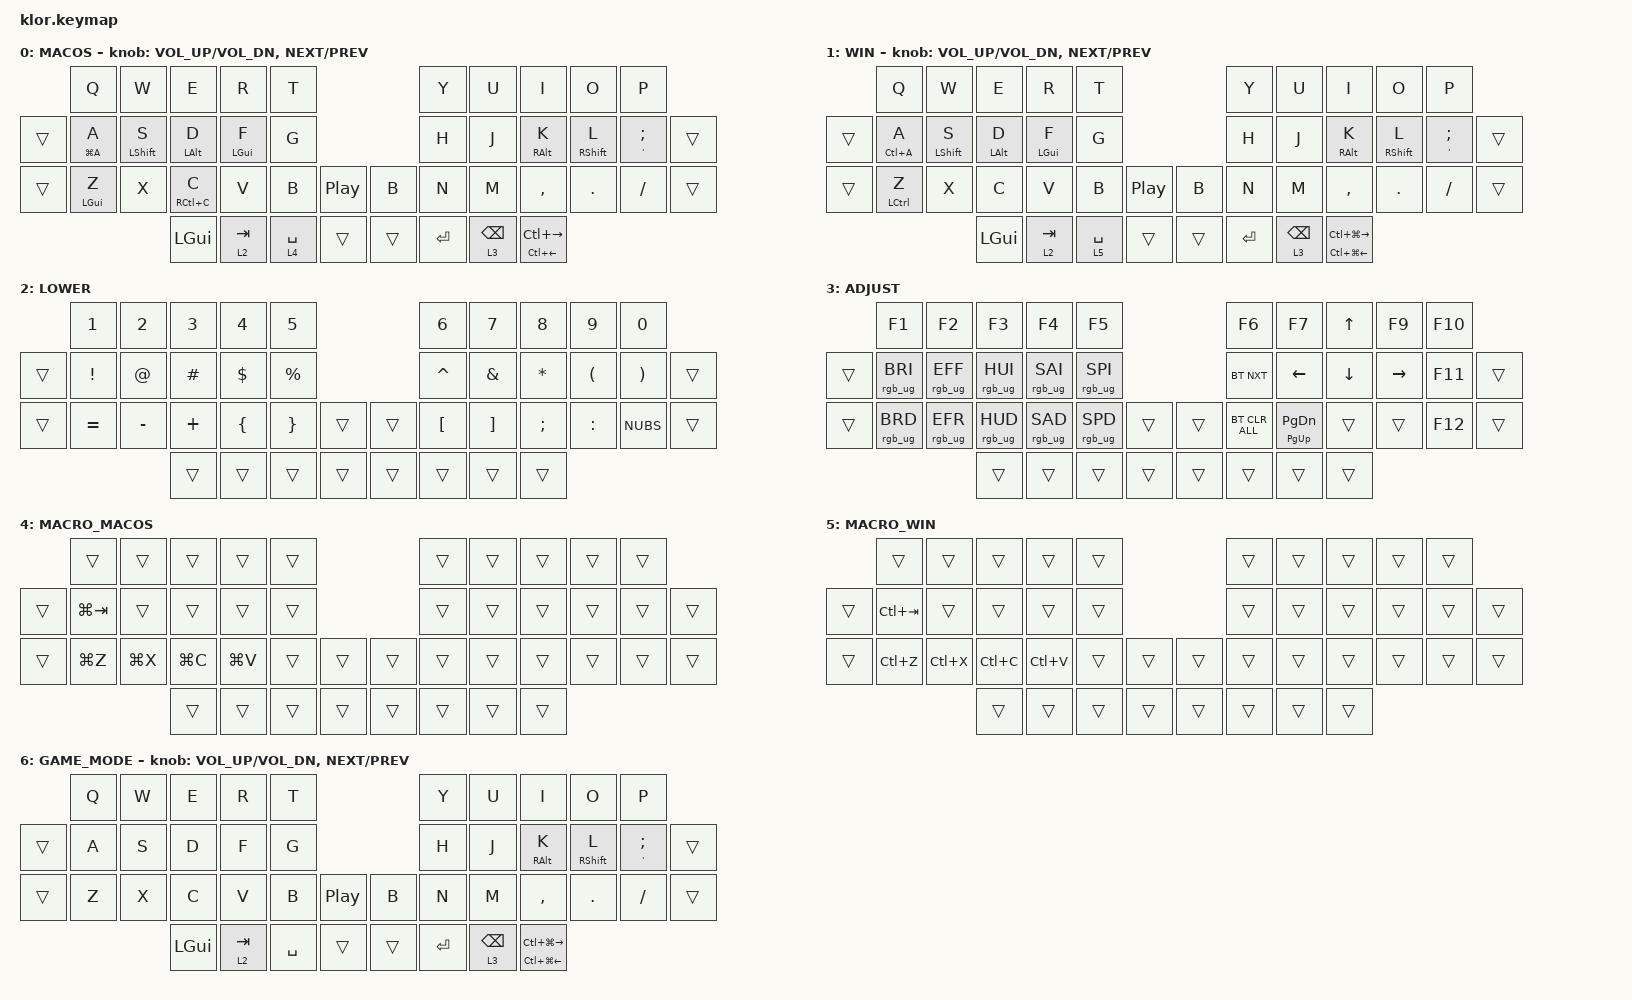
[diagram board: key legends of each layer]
//                               █         █    █            ▄▄▄▀▀▀▀▀▀▄▄▄        █▀▀▀▀▀▀▀▀▀▀█
//                               █        █     █          ▄▀            ▀▄      █          █
//                               █       █      █        ▄▀                ▀▄    █          █
//                               █      █       █        █                  █    █          █
//                               █     █        █       █                    █   █          █
//                               █    █         █       █                    █   █▄▄▄▄▄▄▄▄▄▄█
//                               █   █ █        █       █                    █   █      █
//                               █  █   █       █        █                  █    █       █
//                               █ █     █      █        ▀▄                ▄▀    █        █
//                               ██       █     █          ▀▄            ▄▀      █         █
//                               █         █    █▄▄▄▄▄▄▄▄    ▀▀▀▄▄▄▄▄▄▀▀▀        █          █
//
// ▄▄▄▄▄▄▄▄▄▄▄▄▄▄▄▄▄▄▄▄▄▄▄▄▄▄▄▄▄▄▄▄▄▄▄▄▄▄▄▄▄▄▄▄▄▄▄▄▄▄▄▄▄▄▄▄▄▄▄▄▄▄▄▄▄▄▄▄▄▄▄▄▄▄▄▄▄▄▄▄▄▄▄▄▄▄▄▄▄▄▄▄▄▄▄▄▄▄▄▄▄▄▄▄▄▄▄▄▄▄▄▄▄▄▄▄▄▄▄▄▄▄▄▄▄

#include "keys_pt_abnt2.h"
#include <behaviors.dtsi>
#include <dt-bindings/zmk/bt.h>
#include <dt-bindings/zmk/keys.h>
#include <dt-bindings/zmk/rgb.h>

#define ENGRAM   0
#define NAV      1
#define PROD     2
#define QWERTY   3

/ {
    behaviors {
        hm: homerow_mods {
            compatible = "zmk,behavior-hold-tap";
            label = "HOMEROW_MODS";
            #binding-cells = <2>;
            tapping-term-ms = <300>;
            quick_tap_ms = <0>;
            flavor = "tap-preferred";
            bindings = <&kp>, <&kp>;
        };

        cecedilha: cecedilha {
            compatible = "zmk,behavior-mod-morph";
            label = "CECEDILHA";
            bindings = <&kp C>, <&kp PT_C_CEDILLA>;

            #binding-cells = <0>;
            mods = <(MOD_LALT|MOD_RALT)>;
        };

        question_exclamation: question_exclamation {
            compatible = "zmk,behavior-mod-morph";
            label = "QUESTION_EXCLAMATION";
            bindings = <&kp QUESTION>, <&kp EXCLAMATION>;

            #binding-cells = <0>;
            mods = <(MOD_LSFT|MOD_RSFT)>;
        };

        dot_colon: dot_colon {
            compatible = "zmk,behavior-mod-morph";
            label = "DOT_COLON";
            bindings = <&kp PT_DOT>, <&kp PT_COLON>;

            #binding-cells = <0>;
            mods = <(MOD_LSFT|MOD_RSFT)>;
        };

        o_masculine_ordinal: o_masculine_ordinal {
            compatible = "zmk,behavior-mod-morph";
            label = "O_MASCULINE_ORDINAL";
            bindings = <&kp O>, <&kp PT_MASCULINE_ORDINAL_INDICATOR>;

            #binding-cells = <0>;
            mods = <(MOD_LALT|MOD_RALT)>;
        };

        control_S_dollar: control_S_dollar {
            compatible = "zmk,behavior-mod-morph";
            label = "CONTROL_S_DOLLAR";
            bindings = <&mt RIGHT_CONTROL S>, <&kp DOLLAR>;

            #binding-cells = <0>;
            mods = <(MOD_LALT|MOD_RALT)>;
        };

        command_H_hash: command_H_hash {
            compatible = "zmk,behavior-mod-morph";
            label = "COMMAND_H_HASH";
            bindings = <&mt RIGHT_COMMAND A>, <&kp HASH>;

            #binding-cells = <0>;
            mods = <(MOD_LALT|MOD_RALT)>;
        };

        control_A_feminine_ordinal: control_A_feminine_ordinal {
            compatible = "zmk,behavior-mod-morph";
            label = "CONTROL_A_FEMININE_ORDINAL";
            bindings =
                <&mt LEFT_CONTROL A>,
                <&kp PT_FEMININE_ORDINAL_INDICATOR>;

            #binding-cells = <0>;
            mods = <(MOD_LALT|MOD_RALT)>;
        };

        apost_slash: apost_slash {
            compatible = "zmk,behavior-mod-morph";
            label = "APOST_SLASH";
            bindings = <&kp APOS>, <&kp KP_SLASH>;

            #binding-cells = <0>;
            mods = <(MOD_LALT|MOD_RALT)>;
        };

        backspace_delete: backspace_delete {
            compatible = "zmk,behavior-mod-morph";
            label = "BACKSPACE_DELETE";
            bindings = <&kp BACKSPACE>, <&kp DELETE>;

            #binding-cells = <0>;
            mods = <(MOD_LCTL|MOD_RCTL)>;
        };

        hold_sticky: hold_sticky {
            compatible = "zmk,behavior-hold-tap";
            label = "HOLD_STICKY";
            bindings = <&kp>, <&sk>;

            #binding-cells = <2>;
            tapping-term-ms = <200>;
            flavor = "balanced";
        };

        super_shift: super_shift {
            compatible = "zmk,behavior-mod-morph";
            label = "SUPER_SHIFT";
            bindings = <&hold_sticky LEFT_SHIFT LEFT_SHIFT>, <&caps_word>;

            #binding-cells = <0>;
            mods = <(MOD_LSFT|MOD_RSFT)>;
        };

        control_H_hash: control_H_hash {
            compatible = "zmk,behavior-mod-morph";
            label = "CONTROL_H_HASH";
            bindings = <&hm RIGHT_CONTROL H>, <&kp HASH>;

            #binding-cells = <0>;
            mods = <(MOD_LALT|MOD_RALT)>;
        };

        alt_S_dollar: alt_S_dollar {
            compatible = "zmk,behavior-mod-morph";
            label = "ALT_S_DOLLAR";
            bindings = <&hm RIGHT_ALT S>, <&kp DOLLAR>;

            #binding-cells = <0>;
            mods = <(MOD_LALT|MOD_RALT)>;
        };

        comma_slash: comma_slash {
            compatible = "zmk,behavior-mod-morph";
            label = "COMMA_SLASH";
            bindings = <&kp PT_COMMA>, <&kp KP_SLASH>;

            #binding-cells = <0>;
            mods = <(MOD_LSFT|MOD_RSFT)>;
        };

        X_percentage: X_percentage {
            compatible = "zmk,behavior-mod-morph";
            label = "X_PERCENTAGE";
            bindings = <&kp X>, <&kp PERCENT>;

            #binding-cells = <0>;
            mods = <(MOD_LALT|MOD_RALT)>;
        };

        B_Ampersand: B_Ampersand {
            compatible = "zmk,behavior-mod-morph";
            label = "B_AMPERSAND";
            bindings = <&kp B>, <&kp AMPERSAND>;

            #binding-cells = <0>;
            mods = <(MOD_LALT|MOD_RALT)>;
        };

        alt_i_pipe: alt_i_pipe {
            compatible = "zmk,behavior-mod-morph";
            label = "ALT_I_PIPE";
            bindings = <&hm LEFT_ALT I>, <&kp PIPE>;

            #binding-cells = <0>;
            mods = <(MOD_LALT|MOD_RALT)>;
        };

        U_underscore: U_underscore {
            compatible = "zmk,behavior-mod-morph";
            label = "U_UNDERSCORE";
            bindings = <&kp U>, <&kp UNDERSCORE>;

            #binding-cells = <0>;
            mods = <(MOD_LALT|MOD_RALT)>;
        };

        comma_slash_backslash: comma_slash_backslash {
            compatible = "zmk,behavior-mod-morph";
            label = "COMMA_SLASH_BACKSLASH";
            bindings = <&comma_slash>, <&kp PT_BACKSLASH>;

            #binding-cells = <0>;
            mods = <(MOD_LALT|MOD_RALT)>;
        };

        open_parentesis_less: open_parentesis_less {
            compatible = "zmk,behavior-mod-morph";
            label = "OPEN_PARENTESIS_LESS";
            bindings = <&kp LEFT_PARENTHESIS>, <&kp LESS_THAN>;

            #binding-cells = <0>;
            mods = <(MOD_LSFT|MOD_RSFT)>;
        };

        close_parentesis_greater: close_parentesis_greater {
            compatible = "zmk,behavior-mod-morph";
            label = "CLOSE_PARENTESIS_GREATER";
            bindings = <&kp RIGHT_PARENTHESIS>, <&kp GREATER_THAN>;

            #binding-cells = <0>;
            mods = <(MOD_LSFT|MOD_RSFT)>;
        };

        command_T_shift_same: command_T_shift_same {
            compatible = "zmk,behavior-mod-morph";
            label = "COMMAND_T_SHIFT_SAME";
            bindings = <&kp LG(T)>, <&kp LS(LG(T))>;

            #binding-cells = <0>;
            mods = <(MOD_LSFT|MOD_RSFT)>;
        };

        command_R_shift_same: command_R_shift_same {
            compatible = "zmk,behavior-mod-morph";
            label = "COMMAND_R_SHIFT_SAME";
            bindings = <&kp LG(R)>, <&kp LS(LG(R))>;

            #binding-cells = <0>;
            mods = <(MOD_LSFT|MOD_RSFT)>;
        };

        accents_C_Cedilha: accents_C_Cedilha {
            compatible = "zmk,behavior-hold-tap";
            label = "ACCENTS_C_CEDILHA";
            bindings = <&mo>, <&cecedilha>;

            #binding-cells = <2>;
            tapping-term-ms = <150>;
            flavor = "tap-preferred";
        };
    };

    combos {
        compatible = "zmk,combos";

        esc {
            bindings = <&kp ESC>;
            key-positions = <0 1>;
        };

        caps {
            bindings = <&kp CAPSLOCK>;
            key-positions = <11 0>;
        };

        del {
            bindings = <&kp DEL>;
            key-positions = <20 9>;
        };

        WIN {
            bindings = <&to 1>;
            key-positions = <4 3 5 6>;
            layers = <0 2 3 1 4 5>;
        };

        MACOS {
            bindings = <&to 0>;
            key-positions = <14 15 16 17>;
            layers = <0 2 3 1 4 5>;
        };

        GAME_MODE {
            bindings = <&to 6>;
            key-positions = <0 1 2 3>;
            layers = <0 1 2 3 4 5 6>;
        };

        Tab {
            bindings = <&kp TAB>;
            key-positions = <11 12>;
            layers = <0 1 2 3 4 5 6>;
        };
    };

    keymap {
        compatible = "zmk,keymap";

        // ▄▄▄▄▄▄▄▄▄▄▄▄▄▄▄▄▄▄▄▄▄▄▄▄▄▄▄▄▄▄▄▄▄▄▄▄▄▄▄▄▄▄▄▄▄▄▄▄▄▄▄▄▄▄▄▄▄▄▄▄▄▄▄▄▄▄▄▄▄▄▄▄▄▄▄▄▄▄▄▄▄▄▄▄▄▄▄▄▄▄▄▄▄▄▄▄▄▄▄▄▄▄▄▄▄▄▄▄▄▄▄▄▄▄▄▄▄▄▄▄▄▄▄▄▄▄▄▄▄▄▄▄▄▄▄▄▄▄▄▄▄▄
        // ▄▄▄▄▄▄▄▄▄▄▄▄▄▄▄▄▄▄▄▄▄▄▄▄▄▄▄▄▄▄▄▄▄▄▄▄▄▄▄▄▄▄▄▄▄▄▄▄▄▄▄▄▄▄▄▄▄▄▄▄▄▄▄▄▄▄▄▄▄▄▄▄▄▄▄▄▄▄▄▄▄▄▄▄▄▄▄▄▄▄▄▄▄▄▄▄▄▄▄▄▄▄▄▄▄▄▄▄▄▄▄▄▄▄▄▄▄▄▄▄▄▄▄▄▄▄▄▄▄▄▄▄▄▄▄▄▄▄▄▄▄▄
        // ▄▄▄▄▄▄▄▄▄▄▄▄▄▄▄▄▄▄▄▄▄▄▄▄▄▄▄▄▄▄▄▄▄▄▄▄▄▄▄▄▄▄▄▄▄▄▄▄▄▄▄▄▄▄▄▄▄▄▄▄▄▄▄▄▄▄▄▄▄▄▄▄▄▄▄▄▄▄▄▄▄▄▄▄▄▄▄▄▄▄▄▄▄▄▄▄▄▄▄▄▄▄▄▄▄▄▄▄▄▄▄▄▄▄▄▄▄▄▄▄▄▄▄▄▄
        // ▄▄▄▄▄▄▄▄▄▄▄▄▄▄▄▄▄▄▄▄▄▄▄▄▄▄▄▄▄▄▄▄▄▄▄▄▄▄▄▄▄▄▄▄▄▄▄▄▄▄▄▄▄▄▄▄▄▄▄▄▄▄▄▄▄▄▄▄▄▄▄▄▄▄▄▄▄▄▄▄▄▄▄▄▄▄▄▄▄▄▄▄▄▄▄▄▄▄▄▄▄▄▄▄▄▄▄▄▄▄▄▄▄▄▄▄▄▄▄▄▄▄▄▄▄

        MACOS {
            bindings = <
        &kp Q           &kp W        &kp E           &kp R           &kp T                                  &kp Y      &kp U            &kp I                         &kp O              &kp P
&trans  &hm LG(A) A     &hm LSHFT S  &hm LEFT_ALT D  &hm LEFT_GUI F  &kp G                                  &kp H      &kp J            &hm RIGHT_ALT K               &hm RIGHT_SHIFT L  &hm APOS SEMI  &trans
&trans  &hm LEFT_GUI Z  &kp X        &mt RC(C) C     &kp V           &kp B        &kp C_PLAY_PAUSE  &kp B   &kp N      &kp M            &kp COMMA                     &kp DOT            &kp FSLH       &trans
                                     &kp LEFT_GUI    &lt 2 TAB       &lt 4 SPACE  &trans            &trans  &kp ENTER  &lt 3 BACKSPACE  &hm LC(LEFT_ARROW) LC(RIGHT)
            >;

            sensor-bindings = <&inc_dec_kp C_VOL_UP C_VOL_DN &inc_dec_kp C_NEXT C_PREV>;
            label = "MACOS";
        };

        WIN {
            label = "WIN";
            bindings = <
        &kp Q               &kp W        &kp E           &kp R           &kp T                                  &kp Y      &kp U            &kp I                                 &kp O              &kp P
&trans  &hm LC(A) A         &hm LSHFT S  &hm LEFT_ALT D  &hm LEFT_GUI F  &kp G                                  &kp H      &kp J            &hm RIGHT_ALT K                       &hm RIGHT_SHIFT L  &hm APOS SEMI  &trans
&trans  &hm LEFT_CONTROL Z  &kp X        &kp C           &kp V           &kp B        &kp C_PLAY_PAUSE  &kp B   &kp N      &kp M            &kp COMMA                             &kp DOT            &kp FSLH       &trans
                                         &kp LEFT_GUI    &lt 2 TAB       &lt 5 SPACE  &trans            &trans  &kp ENTER  &lt 3 BACKSPACE  &hm LC(LG(LEFT_ARROW)) LC(LG(RIGHT))
            >;

            sensor-bindings =
                <&inc_dec_kp C_VOL_UP C_VOL_DN>,
                <&inc_dec_kp C_NEXT C_PREV>;
        };

        LOWER {
            bindings = <
        &kp N1     &kp N2     &kp N3    &kp N4          &kp N5                           &kp N6     &kp N7    &kp N8     &kp N9                &kp N0
&trans  &kp EXCL   &kp AT     &kp HASH  &kp DOLLAR      &kp PERCENT                      &kp CARET  &kp AMPS  &kp ASTRK  &kp LEFT_PARENTHESIS  &kp RIGHT_PARENTHESIS  &trans
&trans  &kp EQUAL  &kp MINUS  &kp PLUS  &kp LEFT_BRACE  &kp RIGHT_BRACE  &trans  &trans  &kp LBKT   &kp RBKT  &kp SEMI   &kp COLON             &kp NUBS               &trans
                              &trans    &trans          &trans           &trans  &trans  &trans     &trans    &trans
            >;

            label = "LOWER";
        };

        ADJUST {
            bindings = <
        &kp F1           &kp F2           &kp F3           &kp F4           &kp F5                           &kp F6          &kp F7                 &kp UP_ARROW    &kp F9     &kp F10
&trans  &rgb_ug RGB_BRI  &rgb_ug RGB_EFF  &rgb_ug RGB_HUI  &rgb_ug RGB_SAI  &rgb_ug RGB_SPI                  &bt BT_NXT      &kp LEFT_ARROW         &kp DOWN_ARROW  &kp RIGHT  &kp F11  &trans
&trans  &rgb_ug RGB_BRD  &rgb_ug RGB_EFR  &rgb_ug RGB_HUD  &rgb_ug RGB_SAD  &rgb_ug RGB_SPD  &trans  &trans  &bt BT_CLR_ALL  &hm PAGE_UP PAGE_DOWN  &trans          &trans     &kp F12  &trans
                                          &trans           &trans           &trans           &trans  &trans  &trans          &trans                 &trans
            >;

            label = "ADJUST";
        };

        MACRO_MACOS {
            bindings = <
        &trans       &trans     &trans     &trans     &trans                  &trans  &trans  &trans  &trans  &trans
&trans  &kp LG(TAB)  &trans     &trans     &trans     &trans                  &trans  &trans  &trans  &trans  &trans  &trans
&trans  &kp LG(Z)    &kp LG(X)  &kp LG(C)  &kp LG(V)  &trans  &trans  &trans  &trans  &trans  &trans  &trans  &trans  &trans
                                &trans     &trans     &trans  &trans  &trans  &trans  &trans  &trans
            >;

            label = "MACRO_MACOS";
        };

        MACRO_WIN {
            label = "MACRO_WIN";
            bindings = <
        &trans       &trans     &trans     &trans     &trans                  &trans  &trans  &trans  &trans  &trans
&trans  &kp LC(TAB)  &trans     &trans     &trans     &trans                  &trans  &trans  &trans  &trans  &trans  &trans
&trans  &kp LC(Z)    &kp LC(X)  &kp LC(C)  &kp LC(V)  &trans  &trans  &trans  &trans  &trans  &trans  &trans  &trans  &trans
                                &trans     &trans     &trans  &trans  &trans  &trans  &trans  &trans
            >;
        };

        GAME_MODE {
            label = "GAME_MODE";
            bindings = <
        &kp Q  &kp W  &kp E         &kp R      &kp T                                &kp Y      &kp U            &kp I                                 &kp O              &kp P
&trans  &kp A  &kp S  &kp D         &kp F      &kp G                                &kp H      &kp J            &hm RIGHT_ALT K                       &hm RIGHT_SHIFT L  &hm APOS SEMI  &trans
&trans  &kp Z  &kp X  &kp C         &kp V      &kp B      &kp C_PLAY_PAUSE  &kp B   &kp N      &kp M            &kp COMMA                             &kp DOT            &kp FSLH       &trans
                      &kp LEFT_GUI  &lt 2 TAB  &kp SPACE  &trans            &trans  &kp ENTER  &lt 3 BACKSPACE  &hm LC(LG(LEFT_ARROW)) LC(LG(RIGHT))
            >;

            sensor-bindings =
                <&inc_dec_kp C_VOL_UP C_VOL_DN>,
                <&inc_dec_kp C_NEXT C_PREV>;
        };
    };
};
